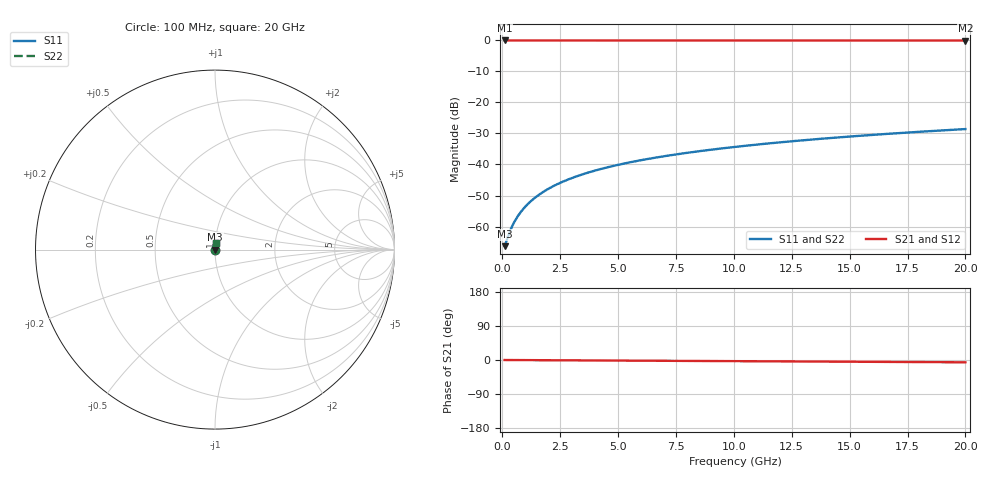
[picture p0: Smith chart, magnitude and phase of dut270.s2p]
! Touchstone file exported from HFSS 2026.1.0
!  File:  C:/ffzhzh/LocalFiles/Ansys_Project_Files/temp_train_TSV_270_1782993275_45328.aedt
!  Generated:  07:56:27 PM Jul  2, 2026
!  Design:  TSV
!  Project:  temp_train_TSV_270_1782993275_45328
! Variables:
!  h_bsmrdl = 2um
!  h_ox = 20um
!  h_rdl = 5um
!  h_sub = 56.17um
!  h_tmrdl = 5um
!  h_tsv = 56.17um
!  h_via = 3um
!  l_bsmrdl = 300um
!  l_sub = 408.08um
!  l_tmrdl = 200um
!  m_sub = 200um
!  pitch = 27.18um
!  r_tsv = 4.04um
!  s_tmrdl = 10um
!  w_bsmrdl = 18um
!  w_sub = 500um
!  w_tmrdl = 12um
!  x_tsv_center1 = 206um
!  x_tsv_center2 = 524um
!  x_tsv_center3 = 736um
!  x_tsv_center4 = 1054um
!  x_tsv_center5 = 1266um
!  x_tsv_center6 = 1584um
# GHz S MA R 50.000000
! Terminal data exported
! Port[1] = TSV1_1_T1
! Port[2] = TSV1_1_T2
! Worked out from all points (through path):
!   200 points, 100 MHz to 20 GHz, reference 50 ohm
!   highest |S21| = 0.00 dB at 100 MHz (marker M1); lowest = 0.0 dB at 20 GHz (marker M2)
!   lowest |S11| = -66.3 dB at 100 MHz (marker M3), VSWR 1.00, Z = 50 + j0.022 ohm
!   |S11| at or under -10 dB: start of sweep to end of sweep
!   |S22| runs from -66.3 to -28.6 dB; largest |S21 - S12| = 4.8e-15
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0.1  0.0004821 27.1  0.9996 -0.0  0.9996 -0.0  0.0004821 27.1
! Gamma 0 0 0 0
! Port Impedance 50 0 50 0
0.3  0.0007849 54.6  0.9995 -0.1  0.9995 -0.1  0.0007849 54.6
0.4  0.0009628 61.0  0.9995 -0.1  0.9995 -0.1  0.0009628 61.0
0.5  0.001146 65.4  0.9995 -0.2  0.9995 -0.2  0.001146 65.4
0.6  0.001334 68.6  0.9995 -0.2  0.9995 -0.2  0.001334 68.6
0.7  0.001524 71.0  0.9995 -0.2  0.9995 -0.2  0.001524 71.0
0.9  0.001909 74.5  0.9995 -0.3  0.9995 -0.3  0.001909 74.5
1.2  0.002496 77.6  0.9995 -0.4  0.9995 -0.4  0.002496 77.6
1.4  0.00289 78.9  0.9995 -0.4  0.9995 -0.4  0.00289 78.9
1.7  0.003483 80.3  0.9994 -0.5  0.9994 -0.5  0.003483 80.3
2.2  0.004469 81.6  0.9994 -0.7  0.9994 -0.7  0.004469 81.6
2.8  0.005647 82.4  0.9993 -0.9  0.9993 -0.9  0.005647 82.4
3.5  0.007007 82.9  0.9992 -1.1  0.9992 -1.1  0.007007 82.9
4.2  0.008353 83.1  0.9991 -1.3  0.9991 -1.3  0.008353 83.1
5  0.009873 83.2  0.999 -1.5  0.999 -1.5  0.009873 83.2
5.9  0.01156 83.2  0.9989 -1.8  0.9989 -1.8  0.01156 83.2
6.8  0.01324 83.2  0.9988 -2.1  0.9988 -2.1  0.01324 83.2
8.3  0.01601 83.0  0.9986 -2.5  0.9986 -2.5  0.01601 83.0
10.1  0.01931 82.8  0.9984 -3.1  0.9984 -3.1  0.01931 82.8
13.4  0.02532 82.4  0.9981 -4.1  0.9981 -4.1  0.02532 82.4
16.7  0.03131 81.7  0.9978 -5.1  0.9978 -5.1  0.03131 81.7
20  0.03726 81.0  0.9974 -6.1  0.9974 -6.1  0.03726 81.0
